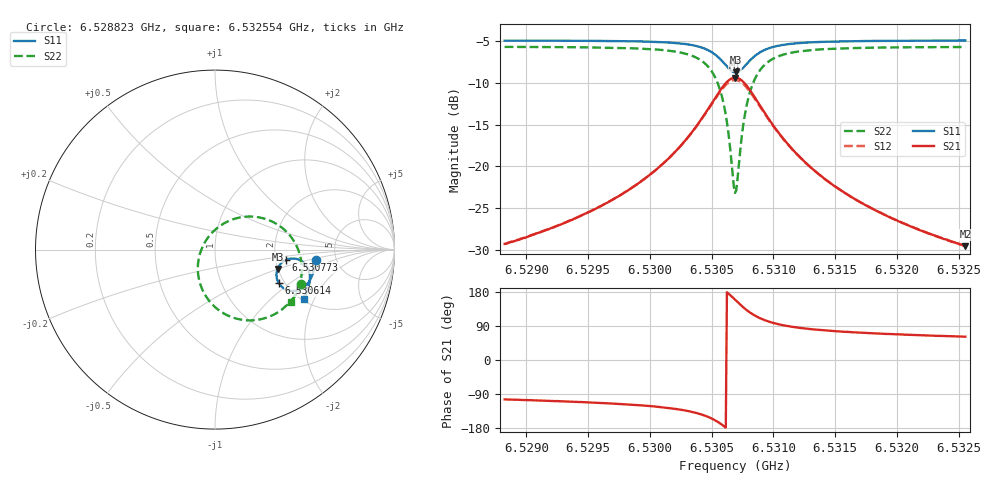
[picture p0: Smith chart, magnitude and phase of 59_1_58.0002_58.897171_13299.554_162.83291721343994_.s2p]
#  HZ  S  RI  R  50.00
! Rohde & Schwarz Vector Network Analyzer
! Rohde-Schwarz,ZNB20-2Port,1311601062101988,3.16
! Created: UTC 3/21/2024, 12:52:54 AM
! freq[Hz]  re:S11  im:S11  re:S21  im:S21  re:S12  im:S12  re:S22  im:S22
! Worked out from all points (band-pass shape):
!   401 points, 6.528823 GHz to 6.532554 GHz, reference 50 ohm
!   highest |S21| = -9.39 dB at 6.530689 GHz (marker M1); lowest = -29.5 dB at 6.532554 GHz (marker M2)
!   |S21| within 3 dB of the highest: 6.530503 GHz to 6.530877 GHz (373.5 kHz wide, 0.00572 % of centre)
!   lowest |S11| = -8.8 dB at 6.530698 GHz (marker M3), VSWR 2.15, Z = 99.4 - j24.7 ohm
!   |S11| at or under -10 dB: nowhere
!   |S22| runs from -23.2 to -5.7 dB; largest |S21 - S12| = 0.014
!   S11 on the Smith chart (normalised r, x): 6.528823 GHz: 3.47, -0.59; 6.530614 GHz: 1.86, -0.83; 6.530773 GHz: 2.29, -0.31; 6.532554 GHz: 2.05, -1.66
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6.5288232e9  0.5607 -0.0581  -0.00833 -0.0334  -0.00897 -0.0332  0.4816 -0.1889
6.5294481e9  0.5513 -0.112  -0.0184 -0.0476  -0.0196 -0.0471  0.4488 -0.2509
6.5297653e9  0.5416 -0.143  -0.0299 -0.0607  -0.0316 -0.06  0.4187 -0.2911
6.5300731e9  0.5235 -0.1791  -0.0551 -0.0821  -0.0575 -0.0804  0.3616 -0.3418
6.530297e9  0.4938 -0.211  -0.1013 -0.1051  -0.1047 -0.1014  0.2681 -0.3849
6.5304555e9  0.4448 -0.2304  -0.1797 -0.1116  -0.1824 -0.1037  0.1244 -0.3859
6.5305488e9  0.394 -0.2216  -0.259 -0.0785  -0.2574 -0.0669  -0.0066 -0.3138
6.5305861e9  0.3711 -0.2059  -0.293 -0.0443  -0.2882 -0.0322  -0.0572 -0.2493
6.5306141e9  0.3561 -0.1875  -0.3143 -0.00802  -0.3063 0.0034  -0.0846 -0.1843
6.5306421e9  0.3456 -0.1637  -0.3264 0.0369  -0.3158 0.0464  -0.0958 -0.1076
6.5306701e9  0.3425 -0.1359  -0.3259 0.0867  -0.3132 0.0933  -0.0847 -0.0257
6.5306887e9  0.3454 -0.117  -0.3171 0.12  -0.304 0.1241  -0.064 0.027
6.5306981e9  0.3484 -0.1077  -0.3104 0.1361  -0.2972 0.1388  -0.0498 0.0516
6.5307447e9  0.3754 -0.0702  -0.2572 0.1998  -0.2462 0.1975  0.0494 0.1457
6.5307727e9  0.3972 -0.0568  -0.2171 0.2216  -0.2085 0.218  0.1192 0.1745
6.530838e9  0.4465 -0.0504  -0.1308 0.2316  -0.1264 0.2275  0.2655 0.1752
6.5309313e9  0.492 -0.0709  -0.0533 0.2007  -0.0515 0.1983  0.3917 0.106
6.5310712e9  0.5197 -0.1083  -0.00573 0.149  -0.00453 0.1481  0.463 0.000963
6.5313137e9  0.5289 -0.155  0.015 0.0958  0.0163 0.0955  0.4837 -0.1094
6.5316122e9  0.5246 -0.1934  0.0188 0.0643  0.0198 0.0641  0.4745 -0.1822
6.5319387e9  0.5155 -0.2255  0.0182 0.0463  0.0191 0.0461  0.4582 -0.2312
6.5325543e9  0.4939 -0.2748  0.0159 0.0293  0.0165 0.0292  0.4262 -0.292
